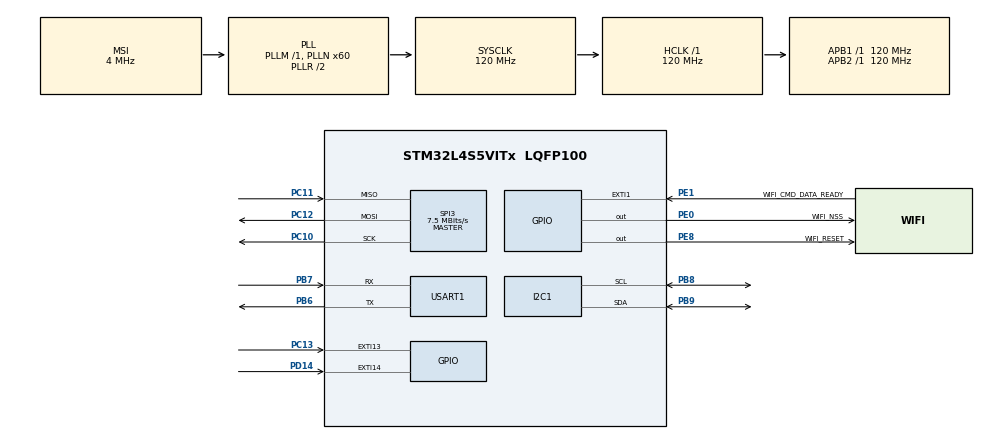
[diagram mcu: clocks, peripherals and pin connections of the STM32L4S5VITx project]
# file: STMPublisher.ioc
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I2C1.Timing=0x30A175AB
Mcu.Family=STM32L4
Mcu.Name=STM32L4S5VITx
Mcu.Package=LQFP100
NVIC.EXTI15_10_IRQn=true\:0\:0\:false\:false\:true\:true\:true\:true
NVIC.EXTI1_IRQn=true\:0\:0\:false\:false\:true\:true\:true\:true
NVIC.PriorityGroup=NVIC_PRIORITYGROUP_4
PB6.Mode=Asynchronous
PB6.Signal=USART1_TX
PB7.Mode=Asynchronous
PB7.Signal=USART1_RX
PB8.Mode=I2C
PB8.Signal=I2C1_SCL
PB9.Mode=I2C
PB9.Signal=I2C1_SDA
PC10.Mode=Full_Duplex_Master
PC10.Signal=SPI3_SCK
PC11.Mode=Full_Duplex_Master
PC11.Signal=SPI3_MISO
PC12.Mode=Full_Duplex_Master
PC12.Signal=SPI3_MOSI
PC13.GPIO_ModeDefaultEXTI=GPIO_MODE_IT_RISING_FALLING
PC13.Signal=GPXTI13
PD14.GPIO_ModeDefaultEXTI=GPIO_MODE_IT_RISING_FALLING
PD14.GPIO_PuPd=GPIO_PULLUP
PD14.Signal=GPXTI14
PE0.GPIO_Label=WIFI_NSS
PE0.Signal=GPIO_Output
PE1.GPIO_Label=WIFI_CMD_DATA_READY
PE1.Signal=GPXTI1
PE8.GPIO_Label=WIFI_RESET
PE8.Signal=GPIO_Output
ProjectManager.HeapSize=0x200
ProjectManager.StackSize=0x400
ProjectManager.TargetToolchain=STM32CubeIDE
RCC.ADCFreq_Value=48000000
RCC.AHBFreq_Value=120000000
RCC.APB1Freq_Value=120000000
RCC.APB1TimFreq_Value=120000000
RCC.APB2Freq_Value=120000000
RCC.APB2TimFreq_Value=120000000
RCC.CortexFreq_Value=120000000
RCC.HCLKFreq_Value=120000000
RCC.HSE_VALUE=8000000
RCC.HSI48_VALUE=48000000
RCC.HSI_VALUE=16000000
RCC.LSE_VALUE=32768
RCC.MSI_VALUE=4000000
RCC.PLLN=60
RCC.PLLSAI1N=24
RCC.SYSCLKFreq_VALUE=120000000
RCC.SYSCLKSource=RCC_SYSCLKSOURCE_PLLCLK
RCC.USBFreq_Value=48000000
RCC.VCOOutputFreq_Value=240000000
SPI3.BaudRatePrescaler=SPI_BAUDRATEPRESCALER_16
SPI3.CalculateBaudRate=7.5 MBits/s
SPI3.DataSize=SPI_DATASIZE_16BIT
SPI3.Direction=SPI_DIRECTION_2LINES
SPI3.Mode=SPI_MODE_MASTER
SPI3.VirtualType=VM_MASTER
USART1.VirtualMode-Asynchronous=VM_ASYNC
board=B-L4S5I-IOT01A

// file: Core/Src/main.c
/* USER CODE BEGIN Header */
/**
  ******************************************************************************
  * @file           : main.c
  * @brief          : Main program body
  ******************************************************************************
  * @attention
  *
  * Copyright (c) 2025 STMicroelectronics.
  * All rights reserved.
  *
  * This software is licensed under terms that can be found in the LICENSE file
  * in the root directory of this software component.
  * If no LICENSE file comes with this software, it is provided AS-IS.
  *
  ******************************************************************************
  */
/* USER CODE END Header */
#include "main.h"

/* USER CODE BEGIN Includes */
#include <stdio.h>
#include <string.h>
#include "stm32l4s5i_iot01_accelero.h"
#include "wifi.h"
/* USER CODE END Includes */

/* USER CODE BEGIN PD */
#define TX_BUFFER_SIZE 1024
#define RX_BUFFER_SIZE 1024
#define TX_TIMEOUT 2000
#define RX_TIMEOUT 2000
/* USER CODE END PD */

I2C_HandleTypeDef hi2c1;

SPI_HandleTypeDef hspi3;

UART_HandleTypeDef huart1;

/* USER CODE BEGIN PV */
static int32_t rep_count = 0;
uint8_t txBuffer[TX_BUFFER_SIZE];
uint8_t rxBuffer[RX_BUFFER_SIZE];
typedef enum {
  STATE_IDLE = 0,
  STATE_MOVING_DOWN,
  STATE_MOVING_UP
} rep_state_t;

static rep_state_t rep_state = STATE_IDLE;

static const int32_t NEG_THRESHOLD_Z = -100;  // mg, going down
static const int32_t POS_THRESHOLD_Z =  100;  // mg, going up

typedef enum {
  DUMBBELL_NO_CHANGE,
  DUMBBELL_GROUNDED,
  DUMBBELL_LIFTED
} dumbbell_event_t;

volatile dumbbell_event_t dumbbell_event = DUMBBELL_NO_CHANGE;

WIFI_HandleTypeDef hwifi;

char ssid[] = "Demacia";
char passphrase[] = "flashqmastery7r";

__IO FlagStatus cmdDataReady = 0;
/* USER CODE END PV */

void SystemClock_Config(void);
static void MX_GPIO_Init(void);
static void MX_USART1_UART_Init(void);
static void MX_I2C1_Init(void);
static void MX_SPI3_Init(void);
/* USER CODE BEGIN PFP */
void Accel_ReadAndUpdateReps(void);
void UART_Print(const char *msg);
/* USER CODE END PFP */

/* USER CODE BEGIN 0 */
int _write(int file, char *ptr, int len)
{
    HAL_UART_Transmit(&huart1, (uint8_t *)ptr, len, HAL_MAX_DELAY);
    return len;
}

int _read(int file, char *ptr, int len)
{
    return 0;
}

int _close(int file) { return -1; }
int _lseek(int file, int ptr, int dir) { return 0; }
int _fstat(int file, void *st) { return 0; }
int _isatty(int file) { return 1; }
int __io_putchar(int ch)
{
  HAL_UART_Transmit(&huart1, (uint8_t *)&ch, 1, HAL_MAX_DELAY);
  return ch;
}

void UART_Print(const char *msg)
{
  HAL_UART_Transmit(&huart1, (uint8_t *)msg, strlen(msg), HAL_MAX_DELAY);
}

void Accel_ReadAndUpdateReps(void)
{
  int16_t pDataXYZ[3];

  BSP_ACCELERO_AccGetXYZ(pDataXYZ);
  int32_t az = pDataXYZ[2];

  switch (rep_state)
  {
    case STATE_IDLE:
      if (az < NEG_THRESHOLD_Z)
      {
        rep_state = STATE_MOVING_DOWN;
      }
      break;

    case STATE_MOVING_DOWN:
      if (az > POS_THRESHOLD_Z)
      {
        rep_state = STATE_MOVING_UP;
      }
      break;

    case STATE_MOVING_UP:
      if (az <= 0)
      {
        rep_count++;
        rep_state = STATE_IDLE;

        char buf[64];
        snprintf(buf, sizeof(buf), "Rep count: %ld", (long)rep_count);   // no \r\n needed for MQTT
        WIFI_MQTTPublish(&hwifi, "inc", 4);

      }
      break;

    default:
      rep_state = STATE_IDLE;
      break;
  }
}

void HAL_GPIO_EXTI_Callback(uint16_t GPIO_Pin)
{
  // Check if the interrupt is from one of our ground-sensor pins
  if (GPIO_Pin == GPIO_PIN_13 || GPIO_Pin == GPIO_PIN_14)
  {
    // Determine which pin triggered the interrupt and read its state
    GPIO_TypeDef* port = (GPIO_Pin == GPIO_PIN_13) ? GPIOC : GPIOD;

    if (HAL_GPIO_ReadPin(port, GPIO_Pin) == GPIO_PIN_RESET)
    {
        // Pin is now LOW (grounded) -> Set the flag
        dumbbell_event = DUMBBELL_GROUNDED;
    }
    else
    {
        // Pin is now HIGH (lifted) -> Set the flag
        dumbbell_event = DUMBBELL_LIFTED;
    }

  }
}
/* USER CODE END 0 */

int main(void)
{

  /* MCU Configuration--------------------------------------------------------*/

  /* Reset of all peripherals, Initializes the Flash interface and the Systick. */
  HAL_Init();

  /* USER CODE BEGIN Init */
  BSP_ACCELERO_Init();      // Accelerometer/Gyro
  /* USER CODE END Init */

  /* Configure the system clock */
  SystemClock_Config();

  /* Initialize all configured peripherals */
  MX_GPIO_Init();
  MX_USART1_UART_Init();
  MX_I2C1_Init();
  MX_SPI3_Init();
  /* USER CODE BEGIN 2 */
  hwifi.handle = &hspi3;
  hwifi.ssid = ssid;
  hwifi.passphrase = passphrase;
  hwifi.securityType = WPA_MIXED;
  hwifi.DHCP = SET;
  hwifi.ipStatus = IP_V4;
  hwifi.transportProtocol = WIFI_TCP_PROTOCOL;
  hwifi.port = 1883;
  sprintf(hwifi.mqtt.publishTopic, "test");
	sprintf(hwifi.remoteIpAddress, "10.74.242.184");

	WIFI_Init(&hwifi);
	WIFI_JoinNetwork(&hwifi);
	WIFI_MQTTClientInit(&hwifi);
  /* USER CODE END 2 */

  /* Infinite loop */
  while (1)
  {

    /* USER CODE BEGIN 3 */
	// Check for and handle dumbbell state changes from the ISR
    if (dumbbell_event != DUMBBELL_NO_CHANGE)
    {
      if (dumbbell_event == DUMBBELL_GROUNDED)
      {
        WIFI_MQTTPublish(&hwifi, "END", 4);
      }
      else if (dumbbell_event == DUMBBELL_LIFTED)
      {
        WIFI_MQTTPublish(&hwifi, "START", 6);
      }
      dumbbell_event = DUMBBELL_NO_CHANGE; // Reset the flag
    }
    Accel_ReadAndUpdateReps();
    HAL_Delay(20); // ~50 Hz sampling
  }
  /* USER CODE END 3 */
}

void SystemClock_Config(void)
{
  RCC_OscInitTypeDef RCC_OscInitStruct = {0};
  RCC_ClkInitTypeDef RCC_ClkInitStruct = {0};

  /** Configure the main internal regulator output voltage
  */
  if (HAL_PWREx_ControlVoltageScaling(PWR_REGULATOR_VOLTAGE_SCALE1_BOOST) != HAL_OK)
  {
    Error_Handler();
  }

  /** Initializes the RCC Oscillators according to the specified parameters
  * in the RCC_OscInitTypeDef structure.
  */
  RCC_OscInitStruct.OscillatorType = RCC_OSCILLATORTYPE_MSI;
  RCC_OscInitStruct.MSIState = RCC_MSI_ON;
  RCC_OscInitStruct.MSICalibrationValue = 0;
  RCC_OscInitStruct.MSIClockRange = RCC_MSIRANGE_6;
  RCC_OscInitStruct.PLL.PLLState = RCC_PLL_ON;
  RCC_OscInitStruct.PLL.PLLSource = RCC_PLLSOURCE_MSI;
  RCC_OscInitStruct.PLL.PLLM = 1;
  RCC_OscInitStruct.PLL.PLLN = 60;
  RCC_OscInitStruct.PLL.PLLP = RCC_PLLP_DIV2;
  RCC_OscInitStruct.PLL.PLLQ = RCC_PLLQ_DIV2;
  RCC_OscInitStruct.PLL.PLLR = RCC_PLLR_DIV2;
  if (HAL_RCC_OscConfig(&RCC_OscInitStruct) != HAL_OK)
  {
    Error_Handler();
  }

  /** Initializes the CPU, AHB and APB buses clocks
  */
  RCC_ClkInitStruct.ClockType = RCC_CLOCKTYPE_HCLK|RCC_CLOCKTYPE_SYSCLK
                              |RCC_CLOCKTYPE_PCLK1|RCC_CLOCKTYPE_PCLK2;
  RCC_ClkInitStruct.SYSCLKSource = RCC_SYSCLKSOURCE_PLLCLK;
  RCC_ClkInitStruct.AHBCLKDivider = RCC_SYSCLK_DIV1;
  RCC_ClkInitStruct.APB1CLKDivider = RCC_HCLK_DIV1;
  RCC_ClkInitStruct.APB2CLKDivider = RCC_HCLK_DIV1;

  if (HAL_RCC_ClockConfig(&RCC_ClkInitStruct, FLASH_LATENCY_5) != HAL_OK)
  {
    Error_Handler();
  }
}

static void MX_I2C1_Init(void)
{

  hi2c1.Instance = I2C1;
  hi2c1.Init.Timing = 0x30A175AB;
  hi2c1.Init.OwnAddress1 = 0;
  hi2c1.Init.AddressingMode = I2C_ADDRESSINGMODE_7BIT;
  hi2c1.Init.DualAddressMode = I2C_DUALADDRESS_DISABLE;
  hi2c1.Init.OwnAddress2 = 0;
  hi2c1.Init.OwnAddress2Masks = I2C_OA2_NOMASK;
  hi2c1.Init.GeneralCallMode = I2C_GENERALCALL_DISABLE;
  hi2c1.Init.NoStretchMode = I2C_NOSTRETCH_DISABLE;
  if (HAL_I2C_Init(&hi2c1) != HAL_OK)
  {
    Error_Handler();
  }

  /** Configure Analogue filter
  */
  if (HAL_I2CEx_ConfigAnalogFilter(&hi2c1, I2C_ANALOGFILTER_ENABLE) != HAL_OK)
  {
    Error_Handler();
  }

  /** Configure Digital filter
  */
  if (HAL_I2CEx_ConfigDigitalFilter(&hi2c1, 0) != HAL_OK)
  {
    Error_Handler();
  }

}

static void MX_SPI3_Init(void)
{

  /* SPI3 parameter configuration*/
  hspi3.Instance = SPI3;
  hspi3.Init.Mode = SPI_MODE_MASTER;
  hspi3.Init.Direction = SPI_DIRECTION_2LINES;
  hspi3.Init.DataSize = SPI_DATASIZE_16BIT;
  hspi3.Init.CLKPolarity = SPI_POLARITY_LOW;
  hspi3.Init.CLKPhase = SPI_PHASE_1EDGE;
  hspi3.Init.NSS = SPI_NSS_SOFT;
  hspi3.Init.BaudRatePrescaler = SPI_BAUDRATEPRESCALER_16;
  hspi3.Init.FirstBit = SPI_FIRSTBIT_MSB;
  hspi3.Init.TIMode = SPI_TIMODE_DISABLE;
  hspi3.Init.CRCCalculation = SPI_CRCCALCULATION_DISABLE;
  hspi3.Init.CRCPolynomial = 7;
  hspi3.Init.CRCLength = SPI_CRC_LENGTH_DATASIZE;
  hspi3.Init.NSSPMode = SPI_NSS_PULSE_ENABLE;
  if (HAL_SPI_Init(&hspi3) != HAL_OK)
  {
    Error_Handler();
  }

}

static void MX_USART1_UART_Init(void)
{

  huart1.Instance = USART1;
  huart1.Init.BaudRate = 115200;
  huart1.Init.WordLength = UART_WORDLENGTH_8B;
  huart1.Init.StopBits = UART_STOPBITS_1;
  huart1.Init.Parity = UART_PARITY_NONE;
  huart1.Init.Mode = UART_MODE_TX_RX;
  huart1.Init.HwFlowCtl = UART_HWCONTROL_NONE;
  huart1.Init.OverSampling = UART_OVERSAMPLING_16;
  huart1.Init.OneBitSampling = UART_ONE_BIT_SAMPLE_DISABLE;
  huart1.Init.ClockPrescaler = UART_PRESCALER_DIV1;
  huart1.AdvancedInit.AdvFeatureInit = UART_ADVFEATURE_NO_INIT;
  if (HAL_UART_Init(&huart1) != HAL_OK)
  {
    Error_Handler();
  }
  if (HAL_UARTEx_SetTxFifoThreshold(&huart1, UART_TXFIFO_THRESHOLD_1_8) != HAL_OK)
  {
    Error_Handler();
  }
  if (HAL_UARTEx_SetRxFifoThreshold(&huart1, UART_RXFIFO_THRESHOLD_1_8) != HAL_OK)
  {
    Error_Handler();
  }
  if (HAL_UARTEx_DisableFifoMode(&huart1) != HAL_OK)
  {
    Error_Handler();
  }

}

static void MX_GPIO_Init(void)
{
  GPIO_InitTypeDef GPIO_InitStruct = {0};

  /* GPIO Ports Clock Enable */
  __HAL_RCC_GPIOC_CLK_ENABLE();
  __HAL_RCC_GPIOE_CLK_ENABLE();
  __HAL_RCC_GPIOD_CLK_ENABLE();
  __HAL_RCC_GPIOB_CLK_ENABLE();

  /*Configure GPIO pin Output Level */
  HAL_GPIO_WritePin(GPIOE, WIFI_RESET_Pin|WIFI_NSS_Pin, GPIO_PIN_RESET);

  /*Configure GPIO pin : PC13 */
  GPIO_InitStruct.Pin = GPIO_PIN_13;
  GPIO_InitStruct.Mode = GPIO_MODE_IT_RISING_FALLING;
  GPIO_InitStruct.Pull = GPIO_NOPULL;
  HAL_GPIO_Init(GPIOC, &GPIO_InitStruct);

  /*Configure GPIO pins : WIFI_RESET_Pin WIFI_NSS_Pin */
  GPIO_InitStruct.Pin = WIFI_RESET_Pin|WIFI_NSS_Pin;
  GPIO_InitStruct.Mode = GPIO_MODE_OUTPUT_PP;
  GPIO_InitStruct.Pull = GPIO_NOPULL;
  GPIO_InitStruct.Speed = GPIO_SPEED_FREQ_LOW;
  HAL_GPIO_Init(GPIOE, &GPIO_InitStruct);

  /*Configure GPIO pin : PD14 */
  GPIO_InitStruct.Pin = GPIO_PIN_14;
  GPIO_InitStruct.Mode = GPIO_MODE_IT_RISING_FALLING;
  GPIO_InitStruct.Pull = GPIO_PULLUP;
  HAL_GPIO_Init(GPIOD, &GPIO_InitStruct);

  /*Configure GPIO pin : WIFI_CMD_DATA_READY_Pin */
  GPIO_InitStruct.Pin = WIFI_CMD_DATA_READY_Pin;
  GPIO_InitStruct.Mode = GPIO_MODE_IT_RISING;
  GPIO_InitStruct.Pull = GPIO_NOPULL;
  HAL_GPIO_Init(WIFI_CMD_DATA_READY_GPIO_Port, &GPIO_InitStruct);

  /* EXTI interrupt init*/
  HAL_NVIC_SetPriority(EXTI1_IRQn, 0, 0);
  HAL_NVIC_EnableIRQ(EXTI1_IRQn);

  HAL_NVIC_SetPriority(EXTI15_10_IRQn, 0, 0);
  HAL_NVIC_EnableIRQ(EXTI15_10_IRQn);

}

void Error_Handler(void)
{
  __disable_irq();
  while (1)
  {
  }
}
